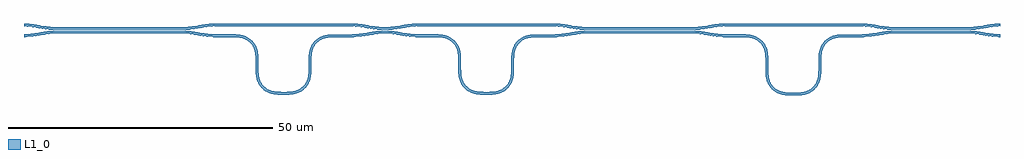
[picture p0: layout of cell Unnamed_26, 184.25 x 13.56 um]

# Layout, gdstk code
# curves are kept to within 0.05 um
from math import pi, radians
import gdstk
lib = gdstk.Library(unit=1e-6, precision=1e-09)
def R(c, l, rs):  # rectangles x0, y0, x1, y1
    for r in rs: c.add(gdstk.rectangle(r[:2], r[2:], *l))
def P(c, l, *ps):  # polygons
    for p in ps: c.add(gdstk.Polygon(p, *l))
L1_0 = (1, 0)

unnamed_18 = lib.new_cell('Unnamed_18')
P(unnamed_18, L1_0, [(-12.092,0.1),(-13.599,0.205),(-16.641,0.67),(-18,0.75),(-18,1.25),(-16.677,1.177),(-13.567,0.705),(-12.088,0.6),(12.177,0.601),(13.567,0.705),(16.677,1.177),(18,1.25),(18,0.75),(16.641,0.67),(13.813,0.233),(12.462,0.109)])

unnamed_19 = lib.new_cell('Unnamed_19')
P(unnamed_19, L1_0, [(-18,-1.25),(-18,-0.75),(-16.641,-0.67),(-13.599,-0.205),(-12.185,-0.101),(12.185,-0.101),(13.599,-0.205),(16.641,-0.67),(18,-0.75),(18,-1.25),(17.908,-1.25),(16.677,-1.177),(13.567,-0.705),(12.177,-0.601),(-12.177,-0.601),(-13.567,-0.705),(-16.677,-1.177)])

unnamed_20 = lib.new_cell('Unnamed_20')
P(unnamed_20, L1_0, [(-0.217,0.1),(-1.724,0.205),(-4.766,0.67),(-6.125,0.75),(-6.125,1.25),(-4.802,1.177),(-1.692,0.705),(-0.213,0.6),(1.336,0.664),(4.526,1.145),(6.125,1.25),(6.125,0.75),(4.647,0.656),(1.448,0.173)])

unnamed_21 = lib.new_cell('Unnamed_21')
P(unnamed_21, L1_0, [(-6.125,-1.25),(-6.125,-0.75),(-4.766,-0.67),(-1.938,-0.233),(-0.587,-0.109),(1.203,-0.149),(4.647,-0.656),(6.125,-0.75),(6.125,-1.25),(4.802,-1.177),(1.692,-0.705),(0.213,-0.6),(-1.336,-0.664),(-4.526,-1.145)])

unnamed_22 = lib.new_cell('Unnamed_22')
P(unnamed_22, L1_0, [(-10.092,0.1),(-11.599,0.205),(-14.641,0.67),(-16,0.75),(-16,1.25),(-14.677,1.177),(-11.567,0.705),(-10.088,0.6),(10.265,0.603),(11.567,0.705),(14.677,1.177),(16,1.25),(16,0.75),(14.641,0.67),(11.813,0.233),(10.555,0.113)])

unnamed_23 = lib.new_cell('Unnamed_23')
P(unnamed_23, L1_0, [(-16,-1.25),(-16,-0.75),(-14.641,-0.67),(-11.599,-0.205),(-10.185,-0.101),(10.277,-0.103),(11.599,-0.205),(14.641,-0.67),(16,-0.75),(16,-1.25),(15.908,-1.25),(14.554,-1.163),(11.567,-0.705),(10.265,-0.603),(-10.177,-0.601),(-11.567,-0.705),(-14.677,-1.177)])

unnamed_24 = lib.new_cell('Unnamed_24')
P(unnamed_24, L1_0, [(-7.092,0.1),(-8.599,0.205),(-11.641,0.67),(-13,0.75),(-13,1.25),(-11.677,1.177),(-8.567,0.705),(-7.088,0.6),(7.265,0.603),(8.567,0.705),(11.677,1.177),(13,1.25),(13,0.75),(11.522,0.656),(7.616,0.116)])

unnamed_25 = lib.new_cell('Unnamed_25')
P(unnamed_25, L1_0, [(-13,-1.25),(-13,-0.75),(-11.641,-0.67),(-8.599,-0.205),(-7.185,-0.101),(7.277,-0.103),(8.599,-0.205),(11.641,-0.67),(13,-0.75),(13,-1.25),(12.908,-1.25),(11.554,-1.163),(8.567,-0.705),(7.265,-0.603),(-7.177,-0.601),(-8.567,-0.705),(-11.677,-1.177)])

straight_l26_n2_csstrip_ = lib.new_cell('straight_L26_N2_CSstrip_WNone')
R(straight_l26_n2_csstrip_, L1_0, [(0,-0.25,26,0.25)])

straight_l3_n2_csxs_261_ = lib.new_cell('straight_L3_N2_CSxs_261_5a9c514e')
R(straight_l3_n2_csxs_261_, L1_0, [(0,-0.25,3,0.25)])

bend_euler_r5_a90_p0p5__ = lib.new_cell('bend_euler_R5_A90_P0p5__bd6e683c')
P(bend_euler_r5_a90_p0p5__, L1_0, [(0,-0.25),(0,0.25),(1.36,0.294),(2.268,0.462),(3.02,0.78),(3.699,1.301),(4.22,1.98),(4.538,2.732),(4.706,3.64),(4.75,5),(5.25,5),(5.203,3.59),(5.018,2.592),(4.653,1.73),(4.053,0.947),(3.27,0.347),(2.408,-0.018),(1.41,-0.203)])

straight_l0p864_n2_csxs_ = lib.new_cell('straight_L0p864_N2_CSxs_c90c2a6f')
R(straight_l0p864_n2_csxs_, L1_0, [(0,-0.25,0.864,0.25)])

unnamed_27 = lib.new_cell('Unnamed_27')
unnamed_27.add(gdstk.Reference(straight_l3_n2_csxs_261_, (0,0)))
unnamed_27.add(gdstk.Reference(bend_euler_r5_a90_p0p5__, (3,0)))
unnamed_27.add(gdstk.Reference(straight_l0p864_n2_csxs_, (8,5), rotation=pi/2))
unnamed_27.add(gdstk.Reference(bend_euler_r5_a90_p0p5__, (8,5.864), rotation=pi/2, x_reflection=True))
unnamed_27.add(gdstk.Reference(bend_euler_r5_a90_p0p5__, (13,10.864), x_reflection=True))
unnamed_27.add(gdstk.Reference(straight_l0p864_n2_csxs_, (18,5.864), rotation=3*pi/2))
unnamed_27.add(gdstk.Reference(bend_euler_r5_a90_p0p5__, (18,5), rotation=3*pi/2))
unnamed_27.add(gdstk.Reference(straight_l3_n2_csxs_261_, (23,0)))

unnamed_28 = lib.new_cell('Unnamed_28')
unnamed_28.add(gdstk.Reference(unnamed_27, (-13,-5.432)))

unnamed_29 = lib.new_cell('Unnamed_29')
unnamed_29.add(gdstk.Reference(straight_l3_n2_csxs_261_, (0,0)))
unnamed_29.add(gdstk.Reference(bend_euler_r5_a90_p0p5__, (3,0)))
unnamed_29.add(gdstk.Reference(straight_l0p864_n2_csxs_, (8,5), rotation=pi/2))
unnamed_29.add(gdstk.Reference(bend_euler_r5_a90_p0p5__, (8,5.864), rotation=pi/2, x_reflection=True))
unnamed_29.add(gdstk.Reference(bend_euler_r5_a90_p0p5__, (13,10.864), x_reflection=True))
unnamed_29.add(gdstk.Reference(straight_l0p864_n2_csxs_, (18,5.864), rotation=3*pi/2))
unnamed_29.add(gdstk.Reference(bend_euler_r5_a90_p0p5__, (18,5), rotation=3*pi/2))
unnamed_29.add(gdstk.Reference(straight_l3_n2_csxs_261_, (23,0)))

unnamed_30 = lib.new_cell('Unnamed_30')
unnamed_30.add(gdstk.Reference(unnamed_29, (-13,-5.432)))

straight_l1p00412871081_ = lib.new_cell('straight_L1p00412871081_d5c1cb22')
R(straight_l1p00412871081_, L1_0, [(0,-0.25,1.004,0.25)])

unnamed_31 = lib.new_cell('Unnamed_31')
unnamed_31.add(gdstk.Reference(straight_l3_n2_csxs_261_, (0,0)))
unnamed_31.add(gdstk.Reference(bend_euler_r5_a90_p0p5__, (3,0)))
unnamed_31.add(gdstk.Reference(straight_l1p00412871081_, (8,5), rotation=pi/2))
unnamed_31.add(gdstk.Reference(bend_euler_r5_a90_p0p5__, (8,6.004), rotation=pi/2, x_reflection=True))
unnamed_31.add(gdstk.Reference(bend_euler_r5_a90_p0p5__, (13,11.004), x_reflection=True))
unnamed_31.add(gdstk.Reference(straight_l1p00412871081_, (18,6.004), rotation=3*pi/2))
unnamed_31.add(gdstk.Reference(bend_euler_r5_a90_p0p5__, (18,5), rotation=3*pi/2))
unnamed_31.add(gdstk.Reference(straight_l3_n2_csxs_261_, (23,0)))

unnamed_33 = lib.new_cell('Unnamed_33')
unnamed_33.add(gdstk.Reference(unnamed_31, (-13,-5.502)))

unnamed_26 = lib.new_cell('Unnamed_26')
unnamed_26.add(gdstk.Reference(unnamed_18, (-76.625,0)))
unnamed_26.add(gdstk.Reference(unnamed_19, (-76.625,0)))
unnamed_26.add(gdstk.Reference(unnamed_20, (-26.5,0)))
unnamed_26.add(gdstk.Reference(unnamed_21, (-26.5,0)))
unnamed_26.add(gdstk.Reference(unnamed_22, (21.625,0)))
unnamed_26.add(gdstk.Reference(unnamed_23, (21.625,0)))
unnamed_26.add(gdstk.Reference(unnamed_24, (76.625,0)))
unnamed_26.add(gdstk.Reference(unnamed_25, (76.625,0)))
unnamed_26.add(gdstk.Reference(straight_l26_n2_csstrip_, (-58.625,1), rotation=radians(0.077)))
unnamed_26.add(gdstk.Reference(unnamed_28, (-45.632,-6.449), rotation=radians(359.923), x_reflection=True))
unnamed_26.add(gdstk.Reference(straight_l26_n2_csstrip_, (-20.375,1), rotation=radians(0.077)))
unnamed_26.add(gdstk.Reference(unnamed_30, (-7.382,-6.449), rotation=radians(359.923), x_reflection=True))
unnamed_26.add(gdstk.Reference(straight_l26_n2_csstrip_, (37.625,1), rotation=radians(0.077)))
unnamed_26.add(gdstk.Reference(unnamed_33, (50.618,-6.519), rotation=radians(359.923), x_reflection=True))

lib.write_gds('Unnamed_26.gds')
